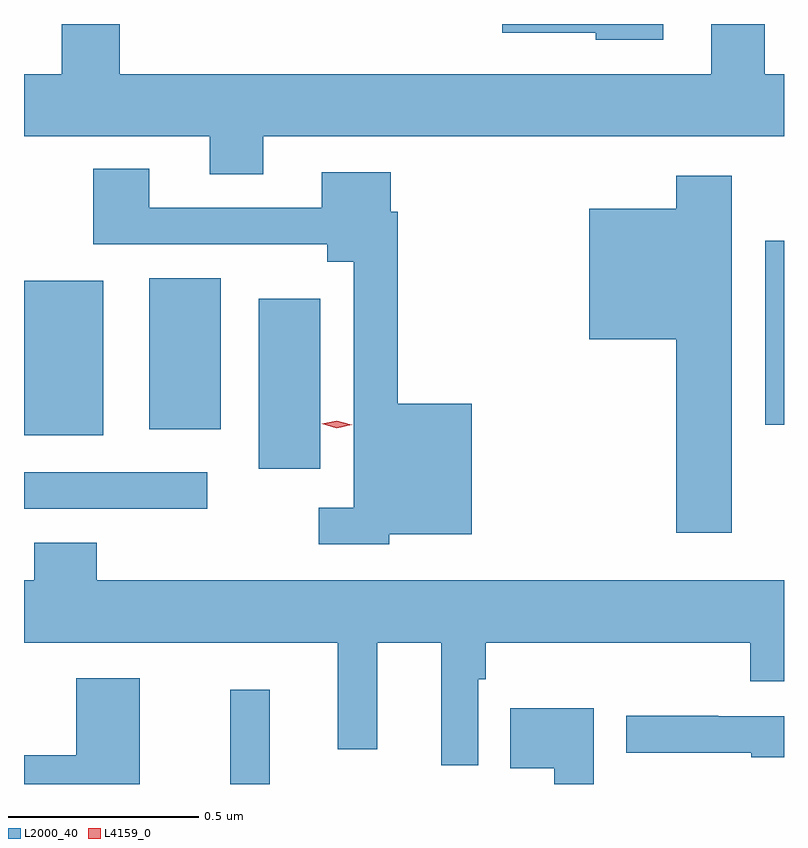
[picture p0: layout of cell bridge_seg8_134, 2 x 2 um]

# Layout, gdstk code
import gdstk
lib = gdstk.Library(unit=1e-6, precision=1e-09)
def R(c, l, rs):  # rectangles x0, y0, x1, y1
    for r in rs: c.add(gdstk.rectangle(r[:2], r[2:], *l))
def P(c, l, *ps):  # polygons
    for p in ps: c.add(gdstk.Polygon(p, *l))
L2000_40 = (2000, 40)
L4159_0 = (4159, 0)

bridge_seg8_134 = lib.new_cell('bridge_seg8_134')
R(bridge_seg8_134, L2000_40, [(456.551,1146.764,456.655,1147.012), (456.008,1147.488,456.49,1147.584), (456.626,1147.593,456.787,1148.041), (456.008,1147.682,456.217,1148.089), (456.338,1147.697,456.526,1148.095), (457.959,1147.71,458.008,1148.193)])
P(bridge_seg8_134, L2000_40, [(456.637,1148.468),(458.008,1148.468),(458.008,1148.632),(457.957,1148.632),(457.957,1148.764),(457.817,1148.764),(457.817,1148.632),(456.26,1148.632),(456.26,1148.764),(456.107,1148.764),(456.107,1148.632),(456.008,1148.632),(456.008,1148.468),(456.497,1148.468),(456.497,1148.369),(456.637,1148.369)],
  [(457.69,1148.764),(457.266,1148.764),(457.266,1148.741),(457.512,1148.741),(457.512,1148.723),(457.69,1148.723)],
  [(456.969,1147.421),(457.186,1147.421),(457.186,1147.765),(456.992,1147.765),(456.992,1148.27),(456.973,1148.27),(456.973,1148.374),(456.791,1148.374),(456.791,1148.28),(456.337,1148.28),(456.337,1148.383),(456.19,1148.383),(456.19,1148.184),(456.806,1148.184),(456.806,1148.138),(456.876,1148.138),(456.876,1147.491),(456.783,1147.491),(456.783,1147.395),(456.969,1147.395)],
  [(457.87,1148.365),(457.724,1148.365),(457.724,1148.278),(457.496,1148.278),(457.496,1147.934),(457.724,1147.934),(457.724,1147.425),(457.87,1147.425)],
  [(457.203,1147.04),(457.223,1147.04),(457.223,1147.136),(457.919,1147.136),(457.919,1147.034),(458.008,1147.034),(458.008,1147.3),(456.2,1147.3),(456.2,1147.399),(456.035,1147.399),(456.035,1147.3),(456.008,1147.3),(456.008,1147.136),(456.833,1147.136),(456.833,1146.855),(456.937,1146.855),(456.937,1147.136),(457.106,1147.136),(457.106,1146.813),(457.203,1146.813)],
  [(456.312,1147.042),(456.146,1147.042),(456.146,1146.84),(456.008,1146.84),(456.008,1146.764),(456.312,1146.764)],
  [(457.507,1146.964),(457.288,1146.964),(457.288,1146.806),(457.403,1146.806),(457.403,1146.764),(457.507,1146.764)],
  [(458.008,1146.942),(457.835,1146.942),(457.835,1146.944),(457.593,1146.944),(457.593,1146.846),(457.922,1146.846),(457.922,1146.834),(458.008,1146.834)])
P(bridge_seg8_134, L4159_0, [(456.831,1147.7),(456.791,1147.712),(456.791,1147.712),(456.791,1147.712),(456.831,1147.72),(456.871,1147.709),(456.872,1147.709),(456.871,1147.709)])

lib.write_gds('bridge_seg8_134.gds')
